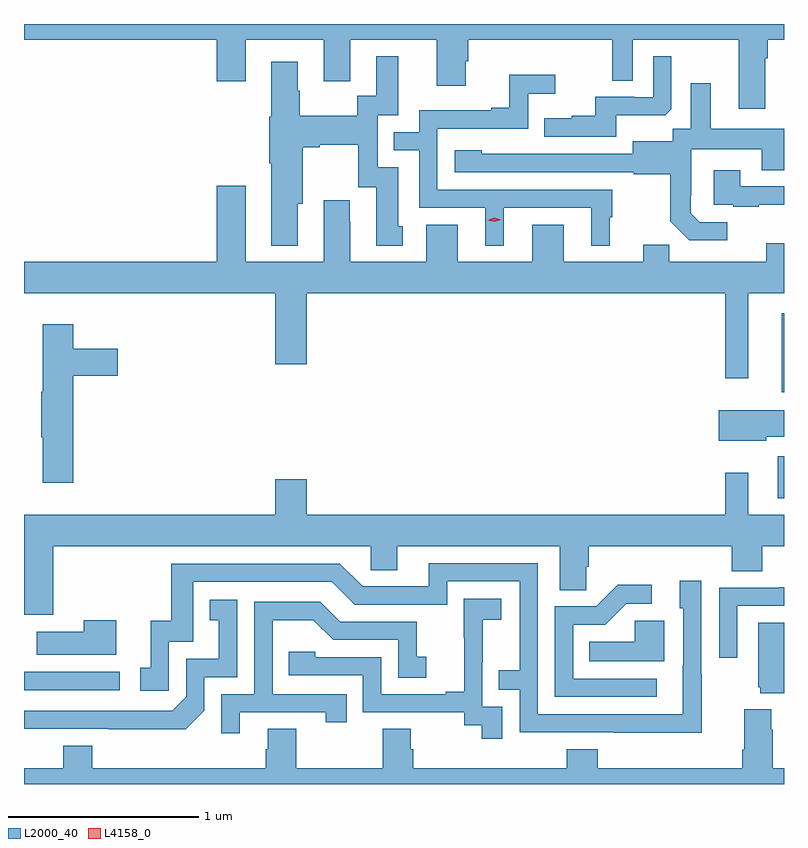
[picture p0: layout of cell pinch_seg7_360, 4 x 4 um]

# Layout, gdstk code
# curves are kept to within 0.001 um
import gdstk
lib = gdstk.Library(unit=1e-6, precision=1e-09)
def R(c, l, rs):  # rectangles x0, y0, x1, y1
    for r in rs: c.add(gdstk.rectangle(r[:2], r[2:], *l))
def P(c, l, *ps):  # polygons
    for p in ps: c.add(gdstk.Polygon(p, *l))
L2000_40 = (2000, 40)
L4158_0 = (4158, 0)

pinch_seg7_360 = lib.new_cell('pinch_seg7_360')
R(pinch_seg7_360, L2000_40, [(439.409,1026.498,439.912,1026.594), (443.375,1027.509,443.409,1027.728), (443.396,1028.066,443.409,1028.482)])
P(pinch_seg7_360, L2000_40, [(439.409,1029.92),(440.423,1029.92),(440.423,1029.702),(440.575,1029.702),(440.575,1029.92),(440.987,1029.92),(440.987,1029.702),(441.127,1029.702),(441.127,1029.92),(441.581,1029.92),(441.581,1029.678),(441.733,1029.678),(441.733,1029.807),(441.746,1029.807),(441.746,1029.92),(442.506,1029.92),(442.506,1029.706),(442.614,1029.706),(442.614,1029.92),(443.171,1029.92),(443.171,1029.558),(443.311,1029.558),(443.311,1029.824),(443.324,1029.824),(443.324,1029.92),(443.409,1029.92),(443.409,1030.004),(439.409,1030.004)],
  [(442.525,1029.524),(442.783,1029.524),(442.815,1029.555),(442.815,1029.835),(442.722,1029.835),(442.722,1029.618),(442.622,1029.618),(442.622,1029.621),(442.415,1029.621),(442.415,1029.52),(442.291,1029.52),(442.291,1029.508),(442.147,1029.508),(442.147,1029.411),(442.525,1029.411)],
  [(440.851,1029.057),(440.877,1029.057),(440.877,1029.356),(440.965,1029.356),(440.965,1029.368),(441.167,1029.368),(441.167,1029.144),(441.263,1029.144),(441.263,1028.838),(441.403,1028.838),(441.403,1028.94),(441.379,1028.94),(441.379,1029.249),(441.27,1029.249),(441.27,1029.525),(441.379,1029.525),(441.379,1029.835),(441.263,1029.835),(441.263,1029.626),(441.162,1029.626),(441.162,1029.52),(440.859,1029.52),(440.859,1029.654),(440.851,1029.654),(440.851,1029.805),(440.711,1029.805),(440.711,1029.516),(440.699,1029.516),(440.699,1029.272),(440.711,1029.272),(440.711,1028.837),(440.851,1028.837)],
  [(441.934,1029.036),(442.394,1029.036),(442.394,1028.837),(442.492,1028.837),(442.492,1028.988),(442.504,1028.988),(442.504,1029.132),(441.585,1029.132),(441.585,1029.453),(442.062,1029.453),(442.062,1029.638),(442.204,1029.638),(442.204,1029.737),(441.964,1029.737),(441.964,1029.562),(441.869,1029.562),(441.869,1029.549),(441.489,1029.549),(441.489,1029.435),(441.355,1029.435),(441.355,1029.339),(441.489,1029.339),(441.489,1029.036),(441.836,1029.036),(441.836,1028.837),(441.934,1028.837)],
  [(443.11,1028.961),(442.965,1028.961),(442.918,1029.008),(442.918,1029.103),(442.92,1029.103),(442.92,1029.344),(443.291,1029.344),(443.291,1029.235),(443.409,1029.235),(443.409,1029.454),(443.023,1029.454),(443.023,1029.691),(442.919,1029.691),(442.919,1029.452),(442.824,1029.452),(442.824,1029.388),(442.613,1029.388),(442.613,1029.321),(441.819,1029.322),(441.819,1029.34),(441.675,1029.34),(441.675,1029.225),(442.617,1029.225),(442.617,1029.213),(442.809,1029.213),(442.809,1028.967),(442.909,1028.867),(443.11,1028.867)],
  [(443.275,1029.053),(443.409,1029.053),(443.409,1029.15),(443.179,1029.15),(443.179,1029.235),(443.039,1029.235),(443.039,1029.054),(443.143,1029.054),(443.143,1029.042),(443.275,1029.042)],
  [(443.221,1028.588),(443.409,1028.588),(443.409,1028.851),(443.315,1028.851),(443.315,1028.752),(442.805,1028.752),(442.805,1028.843),(442.667,1028.843),(442.667,1028.752),(442.249,1028.752),(442.249,1028.947),(442.085,1028.947),(442.085,1028.752),(441.691,1028.752),(441.691,1028.947),(441.527,1028.947),(441.527,1028.752),(441.127,1028.752),(441.127,1028.963),(441.124,1028.963),(441.124,1029.076),(440.987,1029.076),(440.987,1028.752),(440.575,1028.752),(440.575,1029.154),(440.423,1029.154),(440.423,1028.752),(439.409,1028.752),(439.409,1028.588),(440.732,1028.588),(440.732,1028.214),(440.896,1028.214),(440.896,1028.588),(443.1,1028.588),(443.1,1028.139),(443.221,1028.139)],
  [(439.667,1028.153),(439.903,1028.153),(439.903,1028.295),(439.667,1028.295),(439.667,1028.425),(439.508,1028.425),(439.508,1028.069),(439.501,1028.069),(439.501,1027.828),(439.508,1027.828),(439.508,1027.59),(439.667,1027.59)],
  [(443.316,1027.832),(443.409,1027.832),(443.409,1027.972),(443.066,1027.972),(443.066,1027.811),(443.316,1027.811)],
  [(439.562,1027.256),(441.234,1027.256),(441.234,1027.129),(441.373,1027.129),(441.373,1027.256),(442.229,1027.256),(442.229,1027.024),(442.368,1027.024),(442.368,1027.147),(442.382,1027.147),(442.382,1027.256),(443.135,1027.256),(443.135,1027.123),(443.295,1027.123),(443.295,1027.256),(443.409,1027.256),(443.409,1027.42),(443.221,1027.42),(443.221,1027.642),(443.1,1027.642),(443.1,1027.42),(440.896,1027.42),(440.896,1027.609),(440.732,1027.609),(440.732,1027.42),(439.409,1027.42),(439.409,1026.894),(439.562,1026.894)],
  [(442.977,1026.581),(442.974,1026.581),(442.974,1027.075),(442.859,1027.075),(442.859,1026.93),(442.878,1026.93),(442.877,1026.372),(442.113,1026.372),(442.113,1027.167),(441.539,1027.167),(441.539,1027.044),(441.192,1027.044),(441.072,1027.164),(440.185,1027.164),(440.185,1026.862),(440.075,1026.862),(440.075,1026.615),(440.022,1026.615),(440.022,1026.495),(440.172,1026.495),(440.172,1026.753),(440.301,1026.753),(440.301,1027.068),(441.03,1027.068),(441.15,1026.948),(441.636,1026.948),(441.636,1027.071),(442.017,1027.071),(442.017,1026.602),(441.907,1026.602),(441.907,1026.501),(442.017,1026.501),(442.017,1026.276),(442.977,1026.275)],
  [(442.738,1026.558),(442.299,1026.558),(442.299,1026.843),(442.468,1026.843),(442.579,1026.954),(442.714,1026.954),(442.714,1027.052),(442.535,1027.052),(442.422,1026.939),(442.203,1026.939),(442.203,1026.462),(442.738,1026.462)],
  [(443.163,1026.942),(443.409,1026.942),(443.409,1027.04),(443.383,1027.04),(443.383,1027.038),(443.067,1027.038),(443.067,1026.669),(443.163,1026.669)],
  [(441.927,1026.411),(441.822,1026.411),(441.822,1026.641),(441.824,1026.641),(441.824,1026.869),(441.922,1026.869),(441.922,1026.979),(441.724,1026.979),(441.724,1026.773),(441.725,1026.773),(441.725,1026.49),(441.629,1026.49),(441.629,1026.477),(441.288,1026.477),(441.288,1026.672),(440.943,1026.672),(440.943,1026.699),(440.803,1026.699),(440.803,1026.576),(441.192,1026.576),(441.192,1026.381),(441.726,1026.381),(441.726,1026.313),(441.819,1026.313),(441.819,1026.243),(441.927,1026.243)],
  [(440.358,1026.39),(440.358,1026.567),(440.532,1026.567),(440.532,1026.973),(440.386,1026.973),(440.386,1026.867),(440.435,1026.867),(440.435,1026.663),(440.262,1026.663),(440.262,1026.462),(440.19,1026.39),(439.409,1026.39),(439.409,1026.294),(440.26,1026.293)],
  [(440.545,1026.381),(440.996,1026.381),(440.996,1026.33),(441.107,1026.33),(441.107,1026.477),(440.718,1026.477),(440.718,1026.866),(440.932,1026.866),(441.036,1026.762),(441.378,1026.762),(441.378,1026.564),(441.526,1026.564),(441.526,1026.673),(441.477,1026.673),(441.477,1026.858),(441.073,1026.858),(440.968,1026.963),(440.622,1026.963),(440.622,1026.477),(440.448,1026.477),(440.448,1026.27),(440.545,1026.27)],
  [(439.894,1026.865),(439.724,1026.865),(439.724,1026.805),(439.475,1026.805),(439.475,1026.683),(439.894,1026.683)],
  [(442.78,1026.862),(442.623,1026.862),(442.623,1026.754),(442.384,1026.754),(442.384,1026.65),(442.78,1026.65)],
  [(443.409,1026.853),(443.273,1026.853),(443.273,1026.513),(443.285,1026.513),(443.285,1026.482),(443.409,1026.482)],
  [(443.409,1026.088),(443.349,1026.088),(443.349,1026.29),(443.341,1026.29),(443.341,1026.397),(443.201,1026.397),(443.201,1026.184),(443.189,1026.184),(443.189,1026.088),(442.43,1026.088),(442.43,1026.187),(442.265,1026.187),(442.265,1026.088),(441.458,1026.088),(441.458,1026.186),(441.445,1026.186),(441.445,1026.296),(441.298,1026.296),(441.298,1026.088),(440.841,1026.088),(440.841,1026.296),(440.693,1026.296),(440.693,1026.186),(440.681,1026.186),(440.681,1026.088),(439.769,1026.088),(439.769,1026.205),(439.616,1026.205),(439.616,1026.088),(439.409,1026.088),(439.409,1026.004),(443.409,1026.004)])
P(pinch_seg7_360, L4158_0, [(441.885,1028.963),(441.85,1028.972),(441.849,1028.972),(441.85,1028.972),(441.885,1028.983),(441.92,1028.974),(441.921,1028.974),(441.92,1028.974)])

lib.write_gds('pinch_seg7_360.gds')
